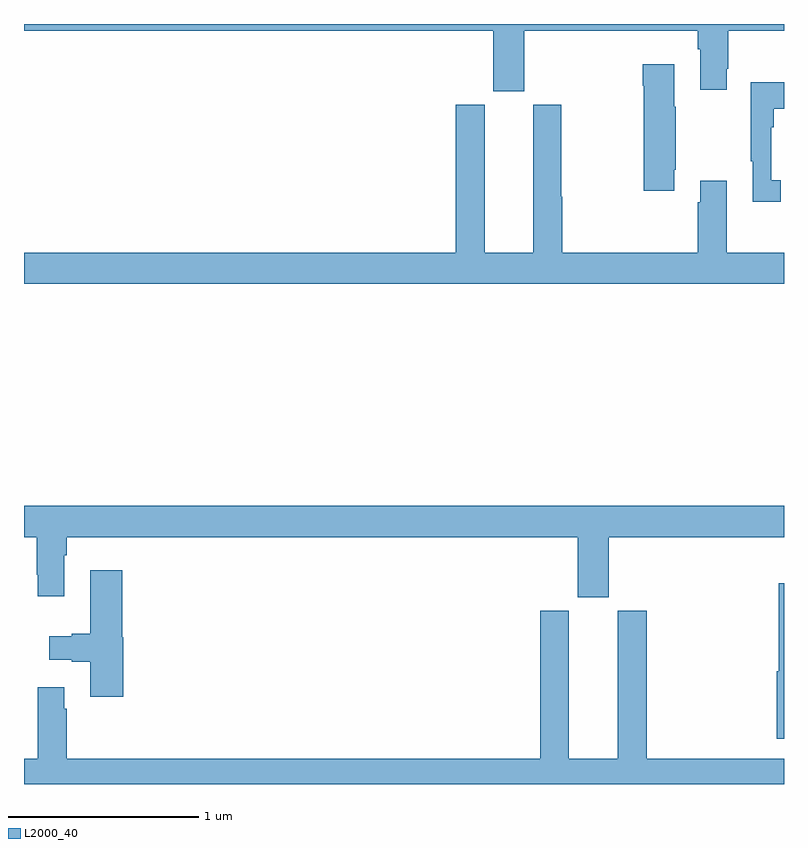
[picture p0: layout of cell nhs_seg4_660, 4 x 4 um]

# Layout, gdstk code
import gdstk
lib = gdstk.Library(unit=1e-6, precision=1e-09)
def P(c, l, *ps):  # polygons
    for p in ps: c.add(gdstk.Polygon(p, *l))
L2000_40 = (2000, 40)

nhs_seg4_660 = lib.new_cell('nhs_seg4_660')
P(nhs_seg4_660, L2000_40, [(148.547,752.768),(148.559,752.768),(148.559,752.553),(148.699,752.553),(148.699,752.665),(148.707,752.665),(148.707,752.864),(149,752.864),(149,752.9),(145,752.9),(145,752.864),(147.47,752.864),(147.47,752.547),(147.634,752.547),(147.634,752.864),(148.547,752.864)],
  [(148.423,752.134),(148.431,752.134),(148.431,752.465),(148.423,752.465),(148.423,752.689),(148.256,752.689),(148.256,752.576),(148.261,752.576),(148.261,752.022),(148.423,752.022)],
  [(148.984,752.078),(148.932,752.078),(148.932,752.357),(148.945,752.357),(148.945,752.453),(149,752.453),(149,752.593),(148.824,752.593),(148.824,752.177),(148.835,752.177),(148.835,751.965),(148.984,751.965)],
  [(149,751.696),(148.699,751.696),(148.699,752.074),(148.559,752.074),(148.559,751.961),(148.547,751.961),(148.547,751.696),(147.833,751.696),(147.833,751.992),(147.828,751.992),(147.828,752.475),(147.68,752.475),(147.68,751.696),(147.424,751.696),(147.424,752.475),(147.272,752.475),(147.272,751.696),(145,751.696),(145,751.532),(149,751.532)],
  [(148.078,750.2),(149,750.2),(149,750.364),(145,750.364),(145,750.2),(145.066,750.2),(145.066,750.001),(145.073,750.001),(145.073,749.889),(145.213,749.889),(145.213,750.104),(145.226,750.104),(145.226,750.2),(147.914,750.2),(147.914,749.883),(148.078,749.883)],
  [(145.522,749.673),(145.517,749.673),(145.517,750.025),(145.349,750.025),(145.349,749.69),(145.25,749.69),(145.25,749.677),(145.134,749.677),(145.134,749.555),(145.25,749.555),(145.25,749.543),(145.349,749.543),(145.349,749.358),(145.522,749.358)],
  [(149,749.956),(148.973,749.956),(148.973,749.494),(148.961,749.494),(148.961,749.139),(149,749.139)],
  [(149,749.032),(148.277,749.032),(148.277,749.811),(148.124,749.811),(148.124,749.032),(147.868,749.032),(147.868,749.811),(147.716,749.811),(147.716,749.032),(145.226,749.032),(145.226,749.297),(145.213,749.297),(145.213,749.41),(145.073,749.41),(145.073,749.032),(145,749.032),(145,748.9),(149,748.9)])

lib.write_gds('nhs_seg4_660.gds')
